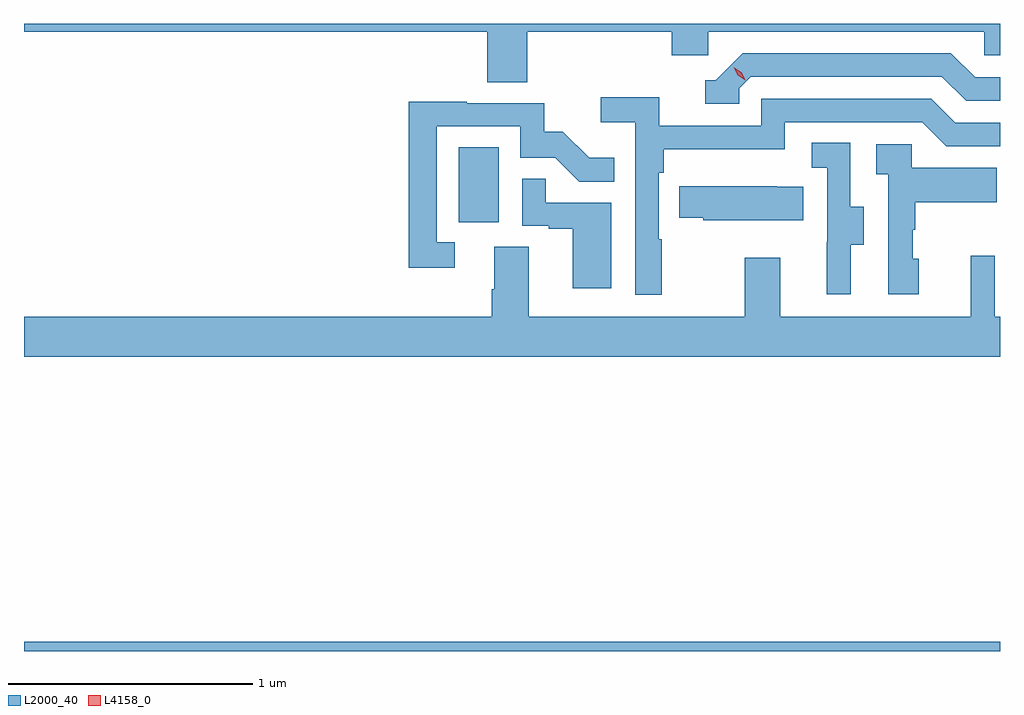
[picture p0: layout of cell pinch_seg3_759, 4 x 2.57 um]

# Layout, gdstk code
import gdstk
lib = gdstk.Library(unit=1e-6, precision=1e-09)
def R(c, l, rs):  # rectangles x0, y0, x1, y1
    for r in rs: c.add(gdstk.rectangle(r[:2], r[2:], *l))
def P(c, l, *ps):  # polygons
    for p in ps: c.add(gdstk.Polygon(p, *l))
L2000_40 = (2000, 40)
L4158_0 = (4158, 0)

pinch_seg3_759 = lib.new_cell('pinch_seg3_759')
R(pinch_seg3_759, L2000_40, [(829.317,746.328,833.317,746.368), (831.098,748.086,831.262,748.393)])
P(pinch_seg3_759, L2000_40, [(831.38,748.868),(831.971,748.868),(831.971,748.77),(832.122,748.77),(832.122,748.868),(833.253,748.868),(833.253,748.77),(833.317,748.77),(833.317,748.9),(829.317,748.9),(829.317,748.868),(831.215,748.868),(831.215,748.66),(831.38,748.66)],
  [(832.248,748.635),(832.296,748.683),(833.079,748.683),(833.178,748.584),(833.317,748.584),(833.317,748.68),(833.215,748.68),(833.116,748.779),(832.263,748.779),(832.152,748.668),(832.109,748.668),(832.109,748.572),(832.248,748.572)],
  [(831.931,748.016),(831.918,748.016),(831.918,748.289),(831.938,748.289),(831.938,748.385),(832.434,748.385),(832.434,748.497),(832.998,748.497),(833.097,748.398),(833.317,748.398),(833.317,748.494),(833.134,748.494),(833.035,748.593),(832.338,748.593),(832.338,748.482),(831.92,748.482),(831.92,748.598),(831.681,748.598),(831.681,748.496),(831.822,748.496),(831.822,747.789),(831.931,747.789)],
  [(831.082,748.005),(831.009,748.005),(831.009,748.479),(831.351,748.479),(831.351,748.35),(831.495,748.35),(831.593,748.252),(831.737,748.252),(831.737,748.351),(831.633,748.351),(831.526,748.458),(831.45,748.458),(831.45,748.575),(831.131,748.575),(831.131,748.58),(830.893,748.58),(830.893,747.9),(831.082,747.9)],
  [(832.705,747.994),(832.759,747.994),(832.759,748.149),(832.704,748.149),(832.704,748.412),(832.545,748.412),(832.545,748.309),(832.608,748.309),(832.608,748.005),(832.607,748.005),(832.607,747.792),(832.705,747.792)],
  [(832.984,747.936),(832.959,747.936),(832.959,748.055),(832.969,748.055),(832.969,748.169),(833.303,748.169),(833.303,748.309),(832.956,748.309),(832.956,748.407),(832.809,748.407),(832.809,748.283),(832.86,748.283),(832.86,747.792),(832.984,747.792)],
  [(831.724,748.167),(831.455,748.167),(831.455,748.265),(831.36,748.265),(831.36,748.071),(831.467,748.071),(831.467,748.059),(831.566,748.059),(831.566,747.816),(831.724,747.816)],
  [(832.511,748.231),(832.403,748.231),(832.403,748.234),(832.003,748.234),(832.003,748.105),(832.101,748.105),(832.101,748.094),(832.511,748.094)],
  [(833.317,747.7),(833.295,747.7),(833.295,747.949),(833.198,747.949),(833.198,747.7),(832.417,747.7),(832.417,747.94),(832.27,747.94),(832.27,747.7),(831.385,747.7),(831.385,747.986),(831.245,747.986),(831.245,747.812),(831.233,747.812),(831.233,747.7),(829.317,747.7),(829.317,747.536),(833.317,747.536)])
P(pinch_seg3_759, L4158_0, [(832.272,748.669),(832.242,748.689),(832.226,748.722),(832.226,748.722),(832.226,748.722),(832.257,748.702),(832.272,748.67),(832.272,748.669)])

lib.write_gds('pinch_seg3_759.gds')
